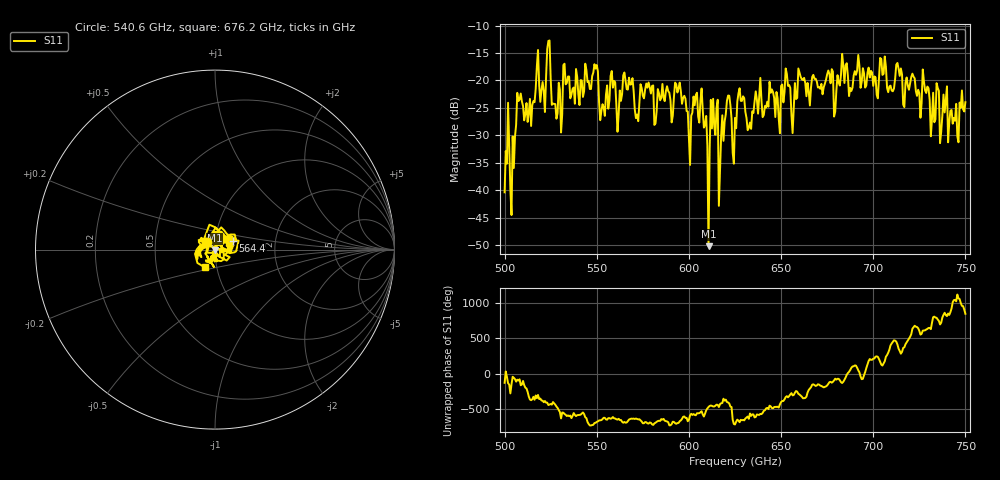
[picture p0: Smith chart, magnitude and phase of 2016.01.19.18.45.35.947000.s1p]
!Created with skrf (http://scikit-rf.org).
# GHz S RI R 50.0
!freq ReS11 ImS11
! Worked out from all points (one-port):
!   401 points, 500 GHz to 750 GHz, reference 50 ohm
!   lowest |S11| = -50.2 dB at 610.6 GHz (marker M1), VSWR 1.01, Z = 49.9 - j0.285 ohm
!   |S11| at or under -10 dB: start of sweep to end of sweep
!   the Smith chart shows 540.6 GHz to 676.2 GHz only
!   S11 on the Smith chart (normalised r, x): 540.6 GHz: 0.91, +0.08; 564.4 GHz: 1.22, +0.12; 676.2 GHz: 0.87, -0.17
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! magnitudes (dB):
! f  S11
! 500 GHz  -40.4
! 504.4 GHz  -30.2
! 508.1 GHz  -23.5
! 520.6 GHz  -20.3
! 523.8 GHz  -12.8
! 526.9 GHz  -24.3
! 531.2 GHz  -26.2
! 540.6 GHz  -24.5
! 549.4 GHz  -17.8
! 562.5 GHz  -21.8
! 564.4 GHz  -19.1
! 571.9 GHz  -26.2
! 593.8 GHz  -22.2
! 600 GHz  -30.8
! 607.5 GHz  -25.4
! 610.6 GHz  -50.2
! 614.4 GHz  -29.9
! 617.5 GHz  -29.9
! 621.2 GHz  -22.7
! 625 GHz  -26.8
! 628.1 GHz  -23.7
! 632.5 GHz  -28.6
! 653.8 GHz  -21.0
! 656.2 GHz  -29.6
! 676.2 GHz  -18.9
! 687.5 GHz  -21.4
! 718.8 GHz  -21.0
! 750 GHz  -24.0
